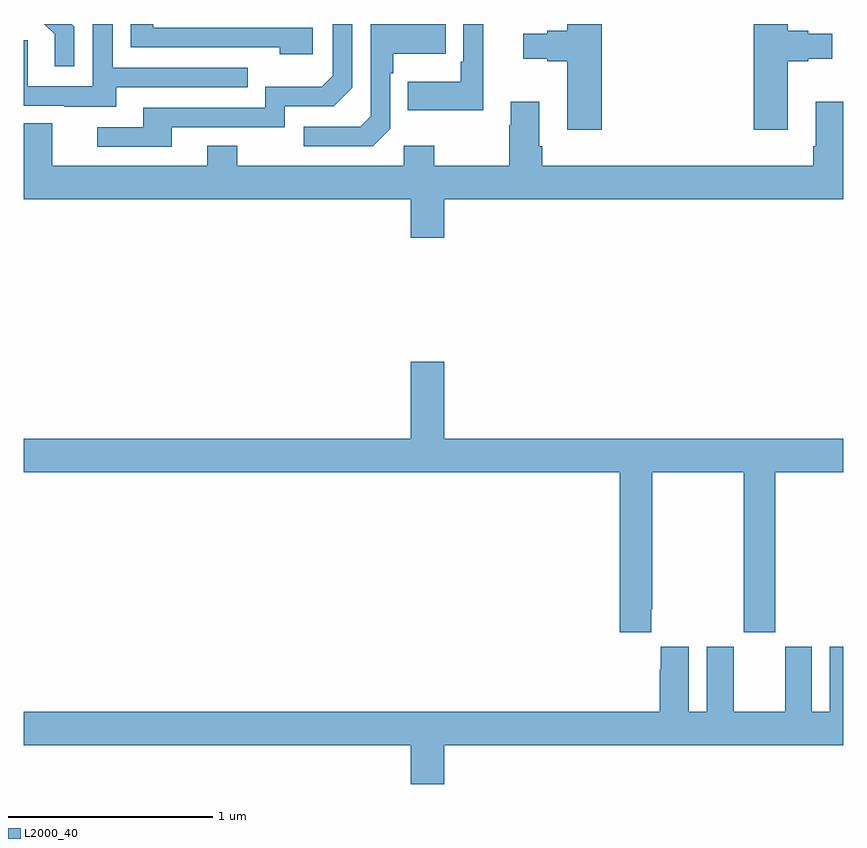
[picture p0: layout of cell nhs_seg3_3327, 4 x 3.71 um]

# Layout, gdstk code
import gdstk
lib = gdstk.Library(unit=1e-6, precision=1e-09)
def P(c, l, *ps):  # polygons
    for p in ps: c.add(gdstk.Polygon(p, *l))
L2000_40 = (2000, 40)

nhs_seg3_3327 = lib.new_cell('nhs_seg3_3327')
P(nhs_seg3_3327, L2000_40, [(283.248,740.386),(283.234,740.4),(283.1,740.4),(283.151,740.349),(283.151,740.193),(283.248,740.193)],
  [(283.453,740.091),(284.093,740.091),(284.093,740.187),(283.434,740.187),(283.434,740.4),(283.338,740.4),(283.338,740.097),(283.02,740.097),(283.02,740.321),(283,740.321),(283,740.001),(283.199,740.001),(283.199,739.997),(283.453,739.997)],
  [(285.821,740.4),(285.653,740.4),(285.653,740.366),(285.554,740.366),(285.554,740.353),(285.438,740.353),(285.438,740.231),(285.554,740.231),(285.554,740.219),(285.653,740.219),(285.653,739.884),(285.821,739.884)],
  [(285.242,740.4),(285.144,740.4),(285.144,740.215),(285.132,740.215),(285.132,740.119),(284.875,740.119),(284.875,739.979),(285.242,739.979)],
  [(284.41,740.382),(283.633,740.382),(283.633,740.4),(283.524,740.4),(283.524,740.286),(284.249,740.286),(284.249,740.252),(284.41,740.252)],
  [(284.79,739.89),(284.79,740.159),(284.803,740.159),(284.803,740.255),(285.059,740.255),(285.059,740.4),(284.694,740.4),(284.694,739.95),(284.643,739.899),(284.367,739.899),(284.367,739.803),(284.703,739.803)],
  [(283.723,739.896),(284.274,739.896),(284.274,739.998),(284.514,739.998),(284.604,740.088),(284.604,740.4),(284.508,740.4),(284.508,740.148),(284.455,740.095),(284.178,740.095),(284.178,739.992),(283.583,739.992),(283.583,739.896),(283.359,739.896),(283.359,739.8),(283.723,739.8)],
  [(286.729,740.219),(286.829,740.219),(286.829,740.231),(286.945,740.231),(286.945,740.353),(286.829,740.353),(286.829,740.366),(286.729,740.366),(286.729,740.4),(286.562,740.4),(286.562,739.884),(286.729,739.884)],
  [(285.052,739.544),(287,739.544),(287,740.02),(286.865,740.02),(286.865,739.804),(286.853,739.804),(286.853,739.708),(285.53,739.708),(285.53,739.804),(285.517,739.804),(285.517,740.02),(285.377,740.02),(285.377,739.907),(285.37,739.907),(285.37,739.708),(285.003,739.708),(285.003,739.807),(284.856,739.807),(284.856,739.708),(284.043,739.708),(284.043,739.807),(283.895,739.807),(283.895,739.708),(283.141,739.708),(283.141,739.916),(283.001,739.916),(283.001,739.708),(283,739.708),(283,739.544),(284.888,739.544),(284.888,739.356),(285.052,739.356)],
  [(286.063,737.545),(286.068,737.545),(286.068,738.212),(286.513,738.212),(286.513,737.433),(286.668,737.433),(286.668,738.212),(287,738.212),(287,738.376),(285.052,738.376),(285.052,738.751),(284.888,738.751),(284.888,738.376),(283,738.376),(283,738.212),(285.908,738.212),(285.908,737.433),(286.063,737.433)],
  [(287,737.362),(286.934,737.362),(286.934,737.044),(286.846,737.044),(286.846,737.362),(286.715,737.362),(286.715,737.044),(286.465,737.044),(286.465,737.362),(286.334,737.362),(286.334,737.044),(286.246,737.044),(286.246,737.362),(286.109,737.362),(286.109,737.249),(286.103,737.249),(286.103,737.044),(283,737.044),(283,736.88),(284.888,736.88),(284.888,736.692),(285.052,736.692),(285.052,736.88),(287,736.88)])

lib.write_gds('nhs_seg3_3327.gds')
